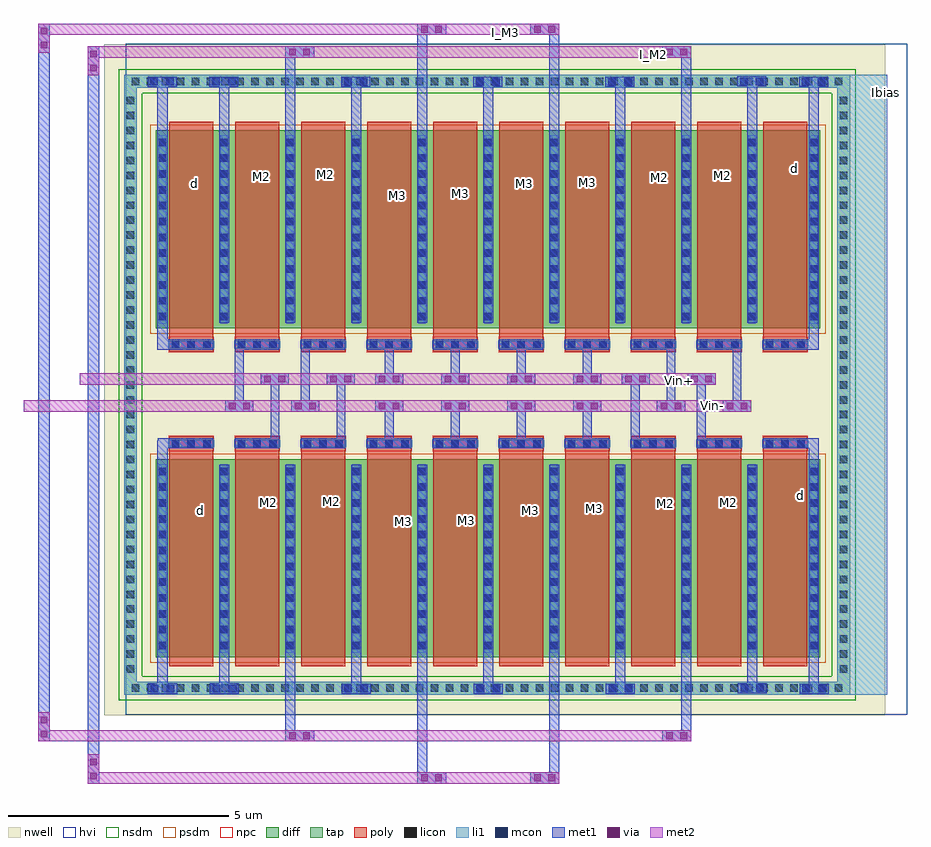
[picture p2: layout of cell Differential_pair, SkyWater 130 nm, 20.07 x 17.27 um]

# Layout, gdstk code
from math import pi, radians
import gdstk
lib = gdstk.Library(unit=1e-6, precision=1e-09)
def R(c, l, rs):  # rectangles x0, y0, x1, y1
    for r in rs: c.add(gdstk.rectangle(r[:2], r[2:], *l))
def A(c, l, x, y, w, h, nx, ny, dx, dy):  # array of equal rectangles
    R(c, l, [(x+i*dx, y+j*dy, x+i*dx+w, y+j*dy+h) for i in range(nx) for j in range(ny)])
def P(c, l, *ps):  # polygons
    for p in ps: c.add(gdstk.Polygon(p, *l))
nwell = (64, 20)
diff = (65, 20)
tap = (65, 44)
poly = (66, 20)
licon = (66, 44)
li1 = (67, 20)
mcon = (67, 44)
met1 = (68, 20)
via = (68, 44)
met2 = (69, 20)
hvi = (75, 20)
nsdm = (93, 44)
psdm = (94, 20)
npc = (95, 20)

vias_gen_19 = lib.new_cell('vias_gen$19')
R(vias_gen_19, met1, [(0,0,0.66,0.26)])
R(vias_gen_19, via, [(0.095,0.055,0.245,0.205), (0.415,0.055,0.565,0.205)])
R(vias_gen_19, met2, [(0,0,0.66,0.26)])

vias_gen_6 = lib.new_cell('vias_gen$6')
R(vias_gen_6, li1, [(0,0,0.66,0.23)])
R(vias_gen_6, mcon, [(0.065,0.03,0.235,0.2), (0.425,0.03,0.595,0.2)])
R(vias_gen_6, met1, [(0,0,0.66,0.23)])

vias_gen_17 = lib.new_cell('vias_gen$17')
R(vias_gen_17, nwell, [(-0.18,-0.18,13.68,0.47)])
R(vias_gen_17, tap, [(0,0,13.5,0.29)])
A(vias_gen_17, licon, 0.205, 0.06, 0.17, 0.17, 39, 1, 0.34, 0)
R(vias_gen_17, li1, [(0,0,13.5,0.29)])
R(vias_gen_17, nsdm, [(-0.125,-0.125,13.625,0.415)])

vias_gen_16 = lib.new_cell('vias_gen$16')
R(vias_gen_16, nwell, [(-0.18,-0.18,16.68,0.47)])
R(vias_gen_16, tap, [(0,0,16.5,0.29)])
A(vias_gen_16, licon, 0.175, 0.06, 0.17, 0.17, 48, 1, 0.34, 0)
R(vias_gen_16, li1, [(0,0,16.5,0.29)])
R(vias_gen_16, nsdm, [(-0.125,-0.125,16.625,0.415)])

vias_gen_1 = lib.new_cell('vias_gen$1')
R(vias_gen_1, met1, [(0,0,0.64,0.26)])
R(vias_gen_1, via, [(0.085,0.055,0.235,0.205), (0.405,0.055,0.555,0.205)])
R(vias_gen_1, met2, [(0,0,0.64,0.26)])

pfet_1 = lib.new_cell('pfet$1')
R(pfet_1, nwell, [(-0.465,-0.88,15.565,5.04)])
R(pfet_1, diff, [(0,0,15.1,4.5)])
A(pfet_1, poly, 0.3, -0.53, 1, 0.33, 10, 1, 1.5, 0)
A(pfet_1, poly, 0.3, -0.2, 1, 4.9, 10, 1, 1.5, 0)
A(pfet_1, licon, 0.355, -0.45, 0.17, 0.17, 3, 1, 0.36, 0)
A(pfet_1, licon, 1.855, -0.45, 0.17, 0.17, 3, 1, 0.36, 0)
A(pfet_1, licon, 3.355, -0.45, 0.17, 0.17, 3, 1, 0.36, 0)
A(pfet_1, licon, 4.855, -0.45, 0.17, 0.17, 3, 1, 0.36, 0)
A(pfet_1, licon, 6.355, -0.45, 0.17, 0.17, 3, 1, 0.36, 0)
A(pfet_1, licon, 7.855, -0.45, 0.17, 0.17, 3, 1, 0.36, 0)
A(pfet_1, licon, 9.355, -0.45, 0.17, 0.17, 3, 1, 0.36, 0)
A(pfet_1, licon, 10.855, -0.45, 0.17, 0.17, 3, 1, 0.36, 0)
A(pfet_1, licon, 12.355, -0.45, 0.17, 0.17, 3, 1, 0.36, 0)
A(pfet_1, licon, 13.855, -0.45, 0.17, 0.17, 3, 1, 0.36, 0)
A(pfet_1, licon, 0.065, 0.185, 0.17, 0.17, 1, 12, 0, 0.36)
A(pfet_1, licon, 1.465, 0.185, 0.17, 0.17, 9, 12, 1.5, 0.36)
A(pfet_1, licon, 14.865, 0.185, 0.17, 0.17, 1, 12, 0, 0.36)
A(pfet_1, li1, 0.275, -0.45, 1.05, 0.17, 10, 1, 1.5, 0)
A(pfet_1, li1, 1.465, 0.105, 0.17, 4.29, 9, 1, 1.5, 0)
R(pfet_1, li1, [(0.065,0.105,0.235,4.395), (14.865,0.105,15.035,4.395)])
A(pfet_1, mcon, 0.355, -0.45, 0.17, 0.17, 3, 1, 0.36, 0)
A(pfet_1, mcon, 1.855, -0.45, 0.17, 0.17, 3, 1, 0.36, 0)
A(pfet_1, mcon, 3.355, -0.45, 0.17, 0.17, 3, 1, 0.36, 0)
A(pfet_1, mcon, 4.855, -0.45, 0.17, 0.17, 3, 1, 0.36, 0)
A(pfet_1, mcon, 6.355, -0.45, 0.17, 0.17, 3, 1, 0.36, 0)
A(pfet_1, mcon, 7.855, -0.45, 0.17, 0.17, 3, 1, 0.36, 0)
A(pfet_1, mcon, 9.355, -0.45, 0.17, 0.17, 3, 1, 0.36, 0)
A(pfet_1, mcon, 10.855, -0.45, 0.17, 0.17, 3, 1, 0.36, 0)
A(pfet_1, mcon, 12.355, -0.45, 0.17, 0.17, 3, 1, 0.36, 0)
A(pfet_1, mcon, 13.855, -0.45, 0.17, 0.17, 3, 1, 0.36, 0)
A(pfet_1, mcon, 0.065, 0.185, 0.17, 0.17, 1, 12, 0, 0.36)
A(pfet_1, mcon, 1.465, 0.185, 0.17, 0.17, 9, 12, 1.5, 0.36)
A(pfet_1, mcon, 14.865, 0.185, 0.17, 0.17, 1, 12, 0, 0.36)
A(pfet_1, met1, 0.295, -0.48, 1.01, 0.23, 10, 1, 1.5, 0)
A(pfet_1, met1, 1.435, 0.125, 0.23, 4.25, 9, 1, 1.5, 0)
R(pfet_1, met1, [(0.035,0.125,0.265,4.375), (14.835,0.125,15.065,4.375)])
R(pfet_1, hvi, [(-0.465,-0.88,15.565,5.04)])
R(pfet_1, psdm, [(-0.125,-0.125,15.225,4.625)])
A(pfet_1, npc, 0.29, -0.54, 1.02, 0.35, 10, 1, 1.5, 0)

differential_pair = lib.new_cell('Differential_pair')
R(differential_pair, nwell, [(-7.52,-24.165,10.23,-8.92)])
R(differential_pair, li1, [(9.43,-23.695,10.27,-9.615)])
A(differential_pair, met1, -4.91, -23.525, 0.23, 0.8, 5, 2, 3, 12.525)
A(differential_pair, met1, -1.145, -18.1, 0.2, 1.095, 4, 1, 1.5, 0)
A(differential_pair, met1, -1.145, -16.655, 0.2, 1, 4, 1, 1.5, 0)
A(differential_pair, met1, -4.91, -10.2, 0.23, 0.375, 4, 1, 3, 0)
R(differential_pair, met1, [(-0.41,-25.715,-0.18,-22.725), (2.59,-25.715,2.82,-22.725), (-7.895,-25.18,-7.635,-9.625), (-9.015,-24.7,-8.755,-9.105), (-3.41,-24.5,-3.18,-22.725), (5.59,-24.5,5.82,-22.725), (5.59,-24.5,5.82,-22.725), (-6.31,-23.535,-6.08,-22.725), (8.49,-23.52,8.72,-22.725), (-6.31,-18.475,-6.08,-17.925), (8.49,-18.475,8.72,-18.03), (-6.305,-18.1,-6.05,-17.87), (-3.74,-18.1,-3.54,-16.575), (-2.24,-18.1,-2.04,-16.575), (4.45,-18.1,4.65,-16.575), (5.95,-18.1,6.15,-16.575), (8.46,-18.1,8.72,-17.87), (-4.55,-17.15,-4.35,-15.625), (-3.05,-17.15,-2.85,-15.625), (5.26,-17.15,5.46,-15.625), (6.76,-17.15,6.96,-15.625), (-6.31,-15.855,-6.08,-15.25), (-6.165,-15.855,-6.05,-15.625), (8.46,-15.855,8.575,-15.625), (8.49,-15.855,8.72,-15.25), (-3.41,-11,-3.18,-9.225), (-0.41,-11,-0.18,-8.705), (2.59,-11,2.82,-8.705), (5.59,-11,5.82,-9.225), (-6.31,-10.21,-6.08,-9.835), (8.49,-10.21,8.72,-9.835), (7.09,-10.2,7.32,-9.685)])
P(differential_pair, met1, [(8.49,-15.25),(8.49,-10.21),(8.6,-10.21),(8.72,-10.21),(8.72,-15.25)],
  [(-6.31,-15.25),(-6.31,-10.21),(-6.19,-10.21),(-6.08,-10.21),(-6.08,-15.25)])
R(differential_pair, met2, [(-7.635,-25.715,2.16,-25.455), (-9.015,-24.76,-2.75,-24.5), (-3.41,-24.76,5.16,-24.5), (-9.345,-17.265,7.18,-17.005), (-8.075,-16.655,6.375,-16.395), (-7.895,-9.225,5.82,-8.965), (-9.015,-8.705,-0.41,-8.445), (0.25,-8.705,2.16,-8.445)])
R(differential_pair, hvi, [(-7.025,-24.15,10.725,-8.905)])
differential_pair.add(gdstk.Reference(vias_gen_19, (-7.895,-25.055), rotation=3*pi/2))
differential_pair.add(gdstk.Reference(vias_gen_19, (-9.015,-24.1), rotation=3*pi/2))
differential_pair.add(gdstk.Reference(vias_gen_19, (-9.015,-8.445), rotation=3*pi/2))
differential_pair.add(gdstk.Reference(vias_gen_19, (-7.895,-8.965), rotation=3*pi/2))
differential_pair.add(gdstk.Reference(vias_gen_19, (-3.41,-9.225)))
differential_pair.add(gdstk.Reference(vias_gen_19, (5.16,-9.225)))
differential_pair.add(gdstk.Reference(vias_gen_19, (-0.41,-8.705)))
differential_pair.add(gdstk.Reference(vias_gen_19, (2.16,-8.705)))
differential_pair.add(gdstk.Reference(vias_gen_19, (5.82,-24.5), rotation=pi))
differential_pair.add(gdstk.Reference(vias_gen_19, (-2.75,-24.5), rotation=pi))
differential_pair.add(gdstk.Reference(vias_gen_19, (2.82,-25.455), rotation=pi))
differential_pair.add(gdstk.Reference(vias_gen_19, (0.25,-25.455), rotation=pi))
differential_pair.add(gdstk.Reference(vias_gen_6, (-5.865,-23.67), rotation=pi, x_reflection=True))
differential_pair.add(gdstk.Reference(vias_gen_6, (-4.46,-23.67), rotation=pi, x_reflection=True))
differential_pair.add(gdstk.Reference(vias_gen_6, (-1.465,-23.675), rotation=pi, x_reflection=True))
differential_pair.add(gdstk.Reference(vias_gen_6, (1.54,-23.675), rotation=pi, x_reflection=True))
differential_pair.add(gdstk.Reference(vias_gen_6, (4.54,-23.675), rotation=pi, x_reflection=True))
differential_pair.add(gdstk.Reference(vias_gen_6, (7.535,-23.665), rotation=pi, x_reflection=True))
differential_pair.add(gdstk.Reference(vias_gen_6, (8.94,-23.675), rotation=pi, x_reflection=True))
differential_pair.add(gdstk.Reference(vias_gen_6, (-5.875,-9.88), rotation=pi, x_reflection=True))
differential_pair.add(gdstk.Reference(vias_gen_6, (-4.47,-9.88), rotation=pi, x_reflection=True))
differential_pair.add(gdstk.Reference(vias_gen_6, (-1.475,-9.885), rotation=pi, x_reflection=True))
differential_pair.add(gdstk.Reference(vias_gen_6, (1.53,-9.885), rotation=pi, x_reflection=True))
differential_pair.add(gdstk.Reference(vias_gen_6, (4.53,-9.885), rotation=pi, x_reflection=True))
differential_pair.add(gdstk.Reference(vias_gen_6, (7.525,-9.875), rotation=pi, x_reflection=True))
differential_pair.add(gdstk.Reference(vias_gen_6, (8.93,-9.885), rotation=pi, x_reflection=True))
differential_pair.add(gdstk.Reference(vias_gen_17, (-6.78,-9.905), rotation=3*pi/2, x_reflection=True))
differential_pair.add(gdstk.Reference(vias_gen_16, (9.43,-9.905), rotation=pi, x_reflection=True))
differential_pair.add(gdstk.Reference(vias_gen_16, (9.43,-23.695), rotation=pi, x_reflection=True))
differential_pair.add(gdstk.Reference(vias_gen_17, (9.43,-9.905), rotation=3*pi/2, x_reflection=True))
differential_pair.add(gdstk.Reference(vias_gen_1, (-0.725,-16.395), rotation=pi))
differential_pair.add(gdstk.Reference(vias_gen_1, (0.775,-16.395), rotation=pi))
differential_pair.add(gdstk.Reference(vias_gen_1, (2.275,-16.395), rotation=pi))
differential_pair.add(gdstk.Reference(vias_gen_1, (3.775,-16.395), rotation=pi))
differential_pair.add(gdstk.Reference(vias_gen_1, (-0.725,-17.265), rotation=pi, x_reflection=True))
differential_pair.add(gdstk.Reference(vias_gen_1, (0.775,-17.265), rotation=pi, x_reflection=True))
differential_pair.add(gdstk.Reference(vias_gen_1, (2.275,-17.265), rotation=pi, x_reflection=True))
differential_pair.add(gdstk.Reference(vias_gen_1, (3.775,-17.265), rotation=pi, x_reflection=True))
differential_pair.add(gdstk.Reference(vias_gen_1, (-3.27,-17.265)))
differential_pair.add(gdstk.Reference(vias_gen_1, (-2.465,-16.655)))
differential_pair.add(gdstk.Reference(vias_gen_1, (-4.77,-17.265)))
differential_pair.add(gdstk.Reference(vias_gen_1, (-3.965,-16.655)))
differential_pair.add(gdstk.Reference(vias_gen_1, (5.68,-17.265), rotation=pi, x_reflection=True))
differential_pair.add(gdstk.Reference(vias_gen_1, (4.875,-16.655), rotation=pi, x_reflection=True))
differential_pair.add(gdstk.Reference(vias_gen_1, (7.18,-17.265), rotation=pi, x_reflection=True))
differential_pair.add(gdstk.Reference(vias_gen_1, (6.375,-16.655), rotation=pi, x_reflection=True))
differential_pair.add(gdstk.Reference(pfet_1, (-6.345,-18.35), x_reflection=True))
differential_pair.add(gdstk.Reference(pfet_1, (8.755,-15.375), rotation=pi, x_reflection=True))
differential_pair.add(gdstk.Reference(pfet_1, (8.755,-15.375), rotation=pi, x_reflection=True))
differential_pair.add(gdstk.Reference(pfet_1, (8.755,-15.375), rotation=pi, x_reflection=True))
differential_pair.add(gdstk.Label('Ibias', (10.23,-10.015), layer=67, texttype=16))
differential_pair.add(gdstk.Label('Vin+', (5.545,-16.55), layer=69, texttype=16))
differential_pair.add(gdstk.Label('Vin-', (6.3,-17.135), layer=69, texttype=16))
differential_pair.add(gdstk.Label('I_M3', (1.6,-8.655), layer=69, texttype=16))
differential_pair.add(gdstk.Label('I_M2', (4.965,-9.14), layer=69, texttype=16))
differential_pair.add(gdstk.Label('d', (-5.335,-19.515), layer=68, texttype=5))
differential_pair.add(gdstk.Label('M2', (-3.795,-19.34), layer=68, texttype=5))
differential_pair.add(gdstk.Label('M2', (-2.36,-19.3), layer=68, texttype=5))
differential_pair.add(gdstk.Label('M3', (-0.715,-19.77), layer=68, texttype=5))
differential_pair.add(gdstk.Label('M3', (0.72,-19.73), layer=68, texttype=5))
differential_pair.add(gdstk.Label('M3', (2.175,-19.515), layer=68, texttype=5))
differential_pair.add(gdstk.Label('M3', (3.61,-19.475), layer=68, texttype=5))
differential_pair.add(gdstk.Label('M2', (5.23,-19.36), layer=68, texttype=5))
differential_pair.add(gdstk.Label('M2', (6.665,-19.32), layer=68, texttype=5))
differential_pair.add(gdstk.Label('d', (8.3,-19.175), layer=68, texttype=5))
differential_pair.add(gdstk.Label('d', (-5.475,-12.09), layer=68, texttype=5))
differential_pair.add(gdstk.Label('M2', (-3.935,-11.915), layer=68, texttype=5))
differential_pair.add(gdstk.Label('M2', (-2.5,-11.875), layer=68, texttype=5))
differential_pair.add(gdstk.Label('M3', (-0.855,-12.345), layer=68, texttype=5))
differential_pair.add(gdstk.Label('M3', (0.58,-12.305), layer=68, texttype=5))
differential_pair.add(gdstk.Label('M3', (2.035,-12.09), layer=68, texttype=5))
differential_pair.add(gdstk.Label('M3', (3.47,-12.05), layer=68, texttype=5))
differential_pair.add(gdstk.Label('M2', (5.09,-11.935), layer=68, texttype=5))
differential_pair.add(gdstk.Label('M2', (6.525,-11.895), layer=68, texttype=5))
differential_pair.add(gdstk.Label('d', (8.16,-11.75), layer=68, texttype=5))

lib.write_gds('Differential_pair.gds')
